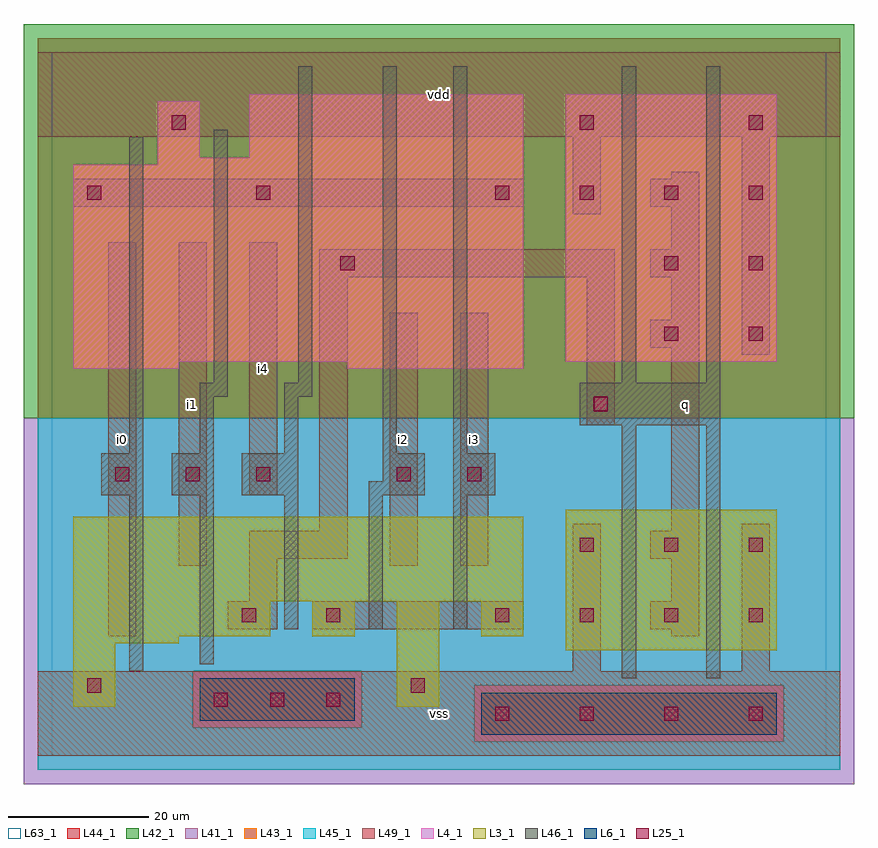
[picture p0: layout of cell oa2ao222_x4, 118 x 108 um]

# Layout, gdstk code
import gdstk
lib = gdstk.Library(unit=1e-6, precision=1e-09)
def R(c, l, rs):  # rectangles x0, y0, x1, y1
    for r in rs: c.add(gdstk.rectangle(r[:2], r[2:], *l))
def A(c, l, x, y, w, h, nx, ny, dx, dy):  # array of equal rectangles
    R(c, l, [(x+i*dx, y+j*dy, x+i*dx+w, y+j*dy+h) for i in range(nx) for j in range(ny)])
L3_1 = (3, 1)
L4_1 = (4, 1)
L6_1 = (6, 1)
L25_1 = (25, 1)
L41_1 = (41, 1)
L42_1 = (42, 1)
L43_1 = (43, 1)
L44_1 = (44, 1)
L45_1 = (45, 1)
L46_1 = (46, 1)
L49_1 = (49, 1)
L63_1 = (63, 1)

oa2ao222_x4 = lib.new_cell('oa2ao222_x4')
R(oa2ao222_x4, L3_1, [(3,7,9,16), (49,7,55,22), (73,15,103,35), (3,16,18,17), (3,17,31,22), (37,17,43,22), (61,17,67,22), (3,22,67,34)])
R(oa2ao222_x4, L4_1, [(3,55,18,56), (42,55,67,56), (3,56,67,84), (73,56,103,94), (15,84,67,85), (15,85,21,93), (28,85,67,94)])
R(oa2ao222_x4, L6_1, [(61,3,103,9), (61,3,103,9), (21,5,43,11), (21,5,43,11)])
A(oa2ao222_x4, L25_1, 63, 5, 2, 2, 4, 2, 12, 14)
A(oa2ao222_x4, L25_1, 23, 7, 2, 2, 3, 1, 8, 0)
A(oa2ao222_x4, L25_1, 75, 29, 2, 2, 3, 1, 12, 0)
A(oa2ao222_x4, L25_1, 9, 39, 2, 2, 3, 1, 10, 0)
A(oa2ao222_x4, L25_1, 63, 79, 2, 2, 4, 1, 12, 0)
R(oa2ao222_x4, L25_1, [(5,9,7,11), (51,9,53,11), (27,19,29,21), (39,19,41,21), (49,39,51,41), (59,39,61,41), (77,49,79,51), (87,59,89,61), (99,59,101,61), (41,69,43,71), (87,69,89,71), (99,69,101,71), (5,79,7,81), (29,79,31,81), (17,89,19,91), (75,89,77,91), (99,89,101,91)])
R(oa2ao222_x4, L41_1, [(-4,-4,114,48)])
R(oa2ao222_x4, L42_1, [(-4,48,114,104)])
R(oa2ao222_x4, L43_1, [(61,3,103,9), (21,5,43,11), (3,7,9,16), (49,7,55,22), (73,15,103,35), (3,16,18,17), (3,17,31,22), (37,17,43,22), (61,17,67,22), (3,22,67,34), (3,55,18,56), (42,55,67,56), (3,56,67,84), (73,56,103,94), (15,84,67,85), (15,85,21,93), (28,85,67,94)])
R(oa2ao222_x4, L44_1, [(60,2,104,10), (20,4,44,12), (-2,48,112,102)])
R(oa2ao222_x4, L45_1, [(-2,-2,112,2), (-2,2,60,4), (104,2,112,10), (-2,4,20,12), (44,4,60,10), (44,10,112,12), (-2,12,112,48)])
A(oa2ao222_x4, L46_1, 33, 18, 2, 19, 3, 1, 12, 0)
R(oa2ao222_x4, L46_1, [(81,11,83,47), (93,11,95,47), (11,12,13,37), (21,13,23,37), (7,37,13,43), (17,37,23,43), (27,37,35,43), (45,37,53,39), (57,37,63,43), (47,39,53,43), (11,43,13,88), (21,43,23,51), (33,43,35,51), (47,43,49,98), (57,43,59,98), (75,47,95,53), (21,51,25,53), (33,51,37,53), (23,53,25,89), (35,53,37,98), (81,53,83,98), (93,53,95,98)])
A(oa2ao222_x4, L49_1, 85, 58, 7, 4, 1, 3, 0, 10)
R(oa2ao222_x4, L49_1, [(-2,0,112,12), (74,12,78,33), (98,12,102,33), (8,17,12,73), (88,17,92,18), (25,18,32,22), (37,18,67,22), (85,18,92,22), (28,22,32,28), (88,22,92,28), (18,27,22,73), (48,27,52,63), (58,27,62,63), (28,28,42,32), (85,28,92,32), (38,32,42,68), (88,32,92,58), (28,37,32,73), (76,47,80,68), (98,57,102,88), (88,62,92,68), (38,68,80,72), (88,72,92,78), (74,77,78,88), (3,78,67,82), (88,82,92,83), (-2,88,112,100)])
R(oa2ao222_x4, L63_1, [(0,0,110,100)])
oa2ao222_x4.add(gdstk.Label('i0', (10,45), layer=49, texttype=1))
oa2ao222_x4.add(gdstk.Label('i1', (20,50), layer=49, texttype=1))
oa2ao222_x4.add(gdstk.Label('i4', (30,55), layer=49, texttype=1))
oa2ao222_x4.add(gdstk.Label('vss', (55,6), layer=49, texttype=1))
oa2ao222_x4.add(gdstk.Label('i3', (60,45), layer=49, texttype=1))
oa2ao222_x4.add(gdstk.Label('i2', (50,45), layer=49, texttype=1))
oa2ao222_x4.add(gdstk.Label('vdd', (55,94), layer=49, texttype=1))
oa2ao222_x4.add(gdstk.Label('q', (90,50), layer=49, texttype=1))

lib.write_gds('oa2ao222_x4.gds')
